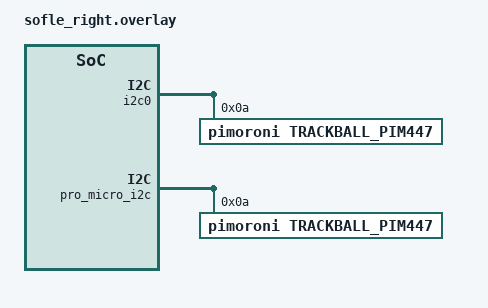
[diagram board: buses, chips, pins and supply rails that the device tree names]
/*
 * Copyright (c) 2020 Ryan Cross
 *
 * SPDX-License-Identifier: MIT
 */

#include "sofle.dtsi"
#include <dt-bindings/zmk/trackball_pim447.h>

&default_transform {
    col-offset = <6>;
};

&kscan0 {
    col-gpios
        = <&pro_micro 10 GPIO_ACTIVE_HIGH>
        , <&pro_micro 16 GPIO_ACTIVE_HIGH>
        , <&pro_micro 14 GPIO_ACTIVE_HIGH>
        , <&pro_micro 15 GPIO_ACTIVE_HIGH>
        , <&pro_micro 18 GPIO_ACTIVE_HIGH>
        , <&pro_micro 19 GPIO_ACTIVE_HIGH>
        ;
};

&i2c0 {
    status = "okay";
    
    trackball_pim447: trackball@0A {
        compatible = "pimoroni,trackball_pim447";
        reg = <0x0A>;
        sensitivity = <64>;  /* Range: 1-255 */
        move-factor = <2>;   /* Range: 1-10, scales cursor movement speed */
        scroll-factor = <1>; /* Range: 1-10, scales scrolling speed */
        
        /* Optional LED color (RGB values 0-255) */
        led-red = <255>;
        led-green = <0>;
        led-blue = <0>;
        
        /* Optional axis inversion */
        invert-x;  /* Uncomment to invert X axis */
        /* invert-y; */  /* Uncomment to invert Y axis */
    };
};

/ {
    trackball_listener {
        compatible = "zmk,input-listener";
        device = <&trackball_pim447>;
    };
    
    right_split_device {
        compatible = "zmk,input-split-device";
    };
};

&pro_micro_i2c {
	status = "okay";

	trackball_pim447@a {

		compatible = "pimoroni,trackball_pim447";
		reg = <0xa>;
		label = "TRACKBALL_PIM447";

		move-factor = <2>;      // Increase pointer velocity (default: 1)
		invert-move-x;          // Invert pointer X axis (left is right, and vice versa)
		invert-move-y;          // Invert pointer Y axis (up is down, and vice versa)
		button = <1>;           // Send right-click when pressing the ball (default: 0, ie. left-click)
		swap-axes;              // Swap X and Y axes (horizontal is vertical, and vice versa)
		scroll-divisor = <1>;   // Increase wheel velocity (default: 2)
		invert-scroll-x;        // Invert wheel X axis (left is right, and vice versa)
		invert-scroll-y;        // Invert wheel Y axis (up is down, and vice versa)
		mode = <PIM447_SCROLL>; // Act as mouse wheels at startup (default: PIM447_MOVE for a pointer)
	};
};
